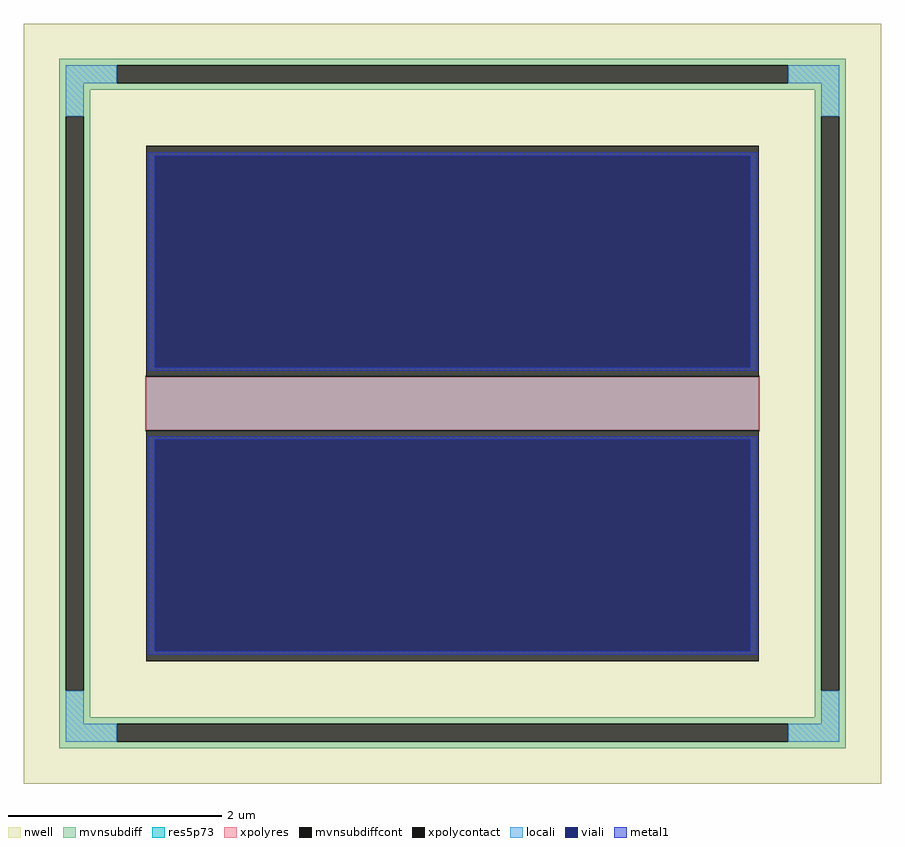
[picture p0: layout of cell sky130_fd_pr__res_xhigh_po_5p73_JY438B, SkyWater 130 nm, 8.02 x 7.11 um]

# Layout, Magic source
magic
tech sky130A
magscale 1 2
<< nwell >>
rect -802 -711 802 711
<< mvnsubdiff >>
rect -736 633 736 645
rect -736 599 -628 633
rect 628 599 736 633
rect -736 587 736 599
rect -736 537 -678 587
rect -736 -537 -724 537
rect -690 -537 -678 537
rect 678 537 736 587
rect -736 -587 -678 -537
rect 678 -537 690 537
rect 724 -537 736 537
rect 678 -587 736 -537
rect -736 -599 736 -587
rect -736 -633 -628 -599
rect 628 -633 736 -599
rect -736 -645 736 -633
<< mvnsubdiffcont >>
rect -628 599 628 633
rect -724 -537 -690 537
rect 690 -537 724 537
rect -628 -633 628 -599
<< xpolycontact >>
rect -573 50 573 482
rect -573 -482 573 -50
<< xpolyres >>
rect -573 -50 573 50
<< locali >>
rect -724 599 -628 633
rect 628 599 724 633
rect -724 537 -690 599
rect 690 537 724 599
rect -724 -599 -690 -537
rect 690 -599 724 -537
rect -724 -633 -628 -599
rect 628 -633 724 -599
<< viali >>
rect -557 67 557 464
rect -557 -464 557 -67
<< metal1 >>
rect -569 464 569 470
rect -569 67 -557 464
rect 557 67 569 464
rect -569 61 569 67
rect -569 -67 569 -61
rect -569 -464 -557 -67
rect 557 -464 569 -67
rect -569 -470 569 -464
<< res5p73 >>
rect -575 -52 575 52
<< properties >>
string FIXED_BBOX -707 -616 707 616
string gencell sky130_fd_pr__res_xhigh_po_5p73
string library sky130
string parameters w 5.73 l 0.5 m 1 nx 1 wmin 5.730 lmin 0.50 rho 2000 val 240.209 dummy 0 dw 0.0 term 188.2 sterm 0.0 caplen 0 wmax 5.730 guard 1 glc 1 grc 1 gtc 1 gbc 1 compatible {sky130_fd_pr__res_xhigh_po_0p35  sky130_fd_pr__res_xhigh_po_0p69 sky130_fd_pr__res_xhigh_po_1p41  sky130_fd_pr__res_xhigh_po_2p85 sky130_fd_pr__res_xhigh_po_5p73} snake 0 full_metal 1 n_guard 1 hv_guard 1 vias 1 viagb 0 viagt 0 viagl 0 viagr 0
<< end >>
